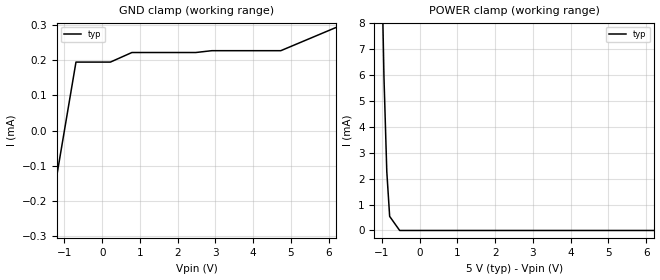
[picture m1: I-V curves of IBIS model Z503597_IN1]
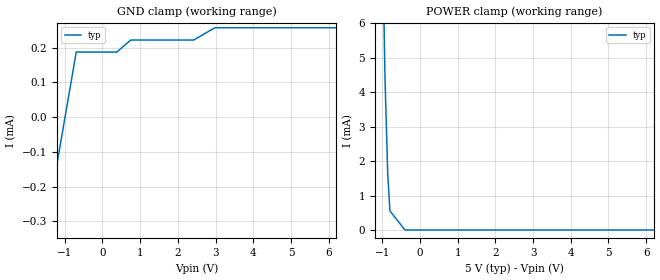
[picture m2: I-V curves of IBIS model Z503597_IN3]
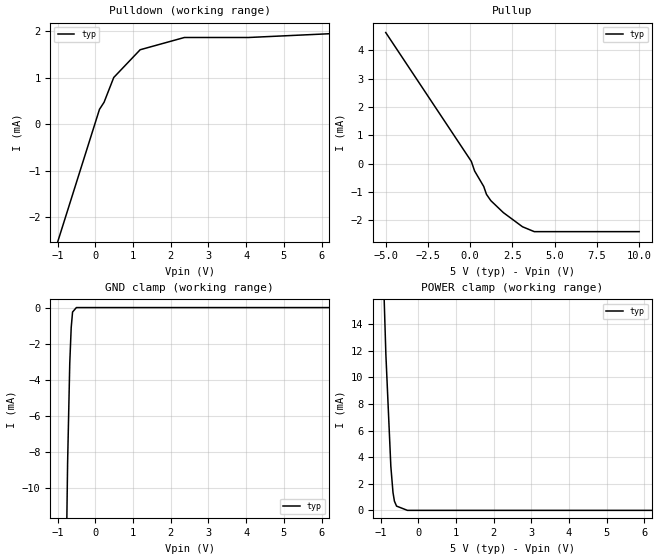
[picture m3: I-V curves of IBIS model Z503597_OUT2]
| YOU ARE ONLY AUTHORIZED TO USE THIS SOFTWARE
| ACCORDING TO LICENSOR'S LICENSE RESTRICTIONS.
[IBIS Ver] 3.1
[File Name] mc14501ubl.ibs
[File Rev] 2.0
[Source] Measured and created by ICX Technology
[Date] Friday 7/14/00 9:07:54 AM
[Copyright]
| (C) COPYRIGHT 1993-2000
| MENTOR GRAPHICS CORPORATION
| ICX STANDARD LIBRARY, ICX PROJECT MODELING,
| ICX CUSTOM MODELING, ICX VENDOR MODEL
| ALL RIGHTS RESERVED.
| THE FOLLOWING ARE TRADEMARKS OR SERVICE MARKS OF
| MENTOR GRAPHICS CORPORATION:ICX (R), ICX STANDARD
| LIBRARY(R), ICX PROJECT MODELING(R), ICX CUSTOM
| MODELING(R), qualityIBIS(TM), MODELVIEWER(TM),
| AND MODELEDITOR(TM)
| ALL COPIES OF SOFTWARE, INCLUDING BUT NOT LIMITED TO
| ANY MODIFICATIONS, ENHANCEMENTS OR DERIVATIVE WORKS,
| MUST CONTAIN ALL MENTOR GRAPHICS CORPORATION'S
| NOTICES AND LEGENDS, INCLUDING THOSE EMBEDDED IN
| SOFTWARE AND THOSE AFFIXED TO SOFTWARE MEDIUM
| AND CONTAINER, AS RECEIVED FROM MENTOR GRAPHICS
| CORPORATION.
|  ZAP Model Builder 2.7
[Component] MC14501UBL
[Manufacturer] OnSemiconductor
[Package]
| variable   typ   min   max
R_pkg  .212ohms NA NA
L_pkg  4.758nH NA NA
C_pkg  1.944pF NA NA
[Pin] signal_name  model_name  R_pin  L_pin C_pin
1 1A Z503597_IN1 .224 7.258n 2.683p
2 2A Z503597_IN1 .216 5.258n 2.19p
3 3A Z503597_IN1 .208 3.758n 1.697p
4 4A Z503597_IN1 .2 2.758n 1.204p
5 1C Z503597_IN1 .2 2.758n 1.204p
6 2C Z503597_IN1 .208 3.758n 1.697p
7 3C Z503597_IN1 .216 5.258n 2.19p
8 VSS POWER .224 7.258n 2.683p
9 4C Z503597_IN1 .224 7.258n 2.683p
10 OUT_C Z503597_OUT2 .216 5.258n 2.19p
11 1B Z503597_IN3 .208 3.758n 1.697p
12 2B Z503597_IN3 .2 2.758n 1.204p
13 OUT_A Z503597_OUT2 .2 2.758n 1.204p
14 OUT_B1 Z503597_OUT4 .208 3.758n 1.697p
15 OUT_B2 Z503597_OUT5 .216 5.258n 2.19p
16 VDD POWER .224 7.258n 2.683p
| Models and submodels in the file (5): Z503597_IN1 (Input), Z503597_IN3 (Input), Z503597_OUT2 (Output), Z503597_OUT4 (Output), Z503597_OUT5 (Output)
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| (C) COPYRIGHT 1993-2000
| MENTOR GRAPHICS CORPORATION
| ICX STANDARD LIBRARY, ICX PROJECT MODELING,
| ICX CUSTOM MODELING, ICX VENDOR MODEL
| ALL RIGHTS RESERVED.
| THE FOLLOWING ARE TRADEMARKS OR SERVICE MARKS OF
| MENTOR GRAPHICS CORPORATION:ICX (R), ICX STANDARD
| LIBRARY(R), ICX PROJECT MODELING(R), ICX CUSTOM
| MODELING(R), qualityIBIS(TM), MODELVIEWER(TM),
| AND MODELEDITOR(TM)
| ALL COPIES OF SOFTWARE, INCLUDING BUT NOT LIMITED TO
| ANY MODIFICATIONS, ENHANCEMENTS OR DERIVATIVE WORKS,
| MUST CONTAIN ALL MENTOR GRAPHICS CORPORATION'S
| NOTICES AND LEGENDS, INCLUDING THOSE EMBEDDED IN
| SOFTWARE AND THOSE AFFIXED TO SOFTWARE MEDIUM
| AND CONTAINER, AS RECEIVED FROM MENTOR GRAPHICS
| CORPORATION.
| Model Application Version 1.89 2/18/99.
[Model] Z503597_IN1
Model_type Input
Vinl = 1.500V
Vinh = 3.500V
C_comp 4.000pF NA NA
| variable typ   min   max
[Voltage Range] 5.000V NA NA
[GND Clamp Reference] 0.000V NA NA
[POWER Clamp Reference] 5.000V NA NA
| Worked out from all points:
|   POWER clamp passes 1 mA (typ) near -0.82 V on its own axis
[GND Clamp]
-5V       -2.542mA   NA         NA
-695mV    194.5uA    NA         NA
217.3mV   194.5uA    NA         NA
786.2mV   221.7uA    NA         NA
2.479V    221.7uA    NA         NA
2.902V    226.9uA    NA         NA
4.731V    226.9uA    NA         NA
10V       464.5uA    NA         NA
[POWER Clamp]
-5V       711mA      NA         NA
-1.25V    41.82mA    NA         NA
-1.094V   19.67mA    NA         NA
-1.006V   10.33mA    NA         NA
-947mV    5.939mA    NA         NA
-872mV    2.283mA    NA         NA
-796mV    544uA      NA         NA
-530.7mV  0A         NA         NA
10V       0A         NA         NA
| (C) COPYRIGHT 1993-2000
| MENTOR GRAPHICS CORPORATION
| ICX STANDARD LIBRARY, ICX PROJECT MODELING,
| ICX CUSTOM MODELING, ICX VENDOR MODEL
| ALL RIGHTS RESERVED.
| THE FOLLOWING ARE TRADEMARKS OR SERVICE MARKS OF
| MENTOR GRAPHICS CORPORATION:ICX (R), ICX STANDARD
| LIBRARY(R), ICX PROJECT MODELING(R), ICX CUSTOM
| MODELING(R), qualityIBIS(TM), MODELVIEWER(TM),
| AND MODELEDITOR(TM)
| ALL COPIES OF SOFTWARE, INCLUDING BUT NOT LIMITED TO
| ANY MODIFICATIONS, ENHANCEMENTS OR DERIVATIVE WORKS,
| MUST CONTAIN ALL MENTOR GRAPHICS CORPORATION'S
| NOTICES AND LEGENDS, INCLUDING THOSE EMBEDDED IN
| SOFTWARE AND THOSE AFFIXED TO SOFTWARE MEDIUM
| AND CONTAINER, AS RECEIVED FROM MENTOR GRAPHICS
| CORPORATION.
| Model Application Version 1.89 2/18/99.
[Model] Z503597_IN3
Model_type Input
Vinl = 1.500V
Vinh = 3.500V
C_comp 4.000pF NA NA
| variable typ   min   max
[Voltage Range] 5.000V NA NA
[GND Clamp Reference] 0.000V NA NA
[POWER Clamp Reference] 5.000V NA NA
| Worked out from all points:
|   POWER clamp passes 1 mA (typ) near -0.82 V on its own axis
[GND Clamp]
-5V       -2.529mA   NA         NA
-695mV    187.5uA    NA         NA
381.7mV   187.5uA    NA         NA
748.4mV   222.2uA    NA         NA
2.421V    222.2uA    NA         NA
2.979V    257.5uA    NA         NA
10V       257.5uA    NA         NA
[POWER Clamp]
-5V       565.5mA    NA         NA
-1.186V   28.36mA    NA         NA
-1.06V    14.42mA    NA         NA
-1.006V   9.583mA    NA         NA
-928mV    4.442mA    NA         NA
-854mV    1.615mA    NA         NA
-796mV    553uA      NA         NA
-398mV    0A         NA         NA
10V       0A         NA         NA
| (C) COPYRIGHT 1993-2000
| MENTOR GRAPHICS CORPORATION
| ICX STANDARD LIBRARY, ICX PROJECT MODELING,
| ICX CUSTOM MODELING, ICX VENDOR MODEL
| ALL RIGHTS RESERVED.
| THE FOLLOWING ARE TRADEMARKS OR SERVICE MARKS OF
| MENTOR GRAPHICS CORPORATION:ICX (R), ICX STANDARD
| LIBRARY(R), ICX PROJECT MODELING(R), ICX CUSTOM
| MODELING(R), qualityIBIS(TM), MODELVIEWER(TM),
| AND MODELEDITOR(TM)
| ALL COPIES OF SOFTWARE, INCLUDING BUT NOT LIMITED TO
| ANY MODIFICATIONS, ENHANCEMENTS OR DERIVATIVE WORKS,
| MUST CONTAIN ALL MENTOR GRAPHICS CORPORATION'S
| NOTICES AND LEGENDS, INCLUDING THOSE EMBEDDED IN
| SOFTWARE AND THOSE AFFIXED TO SOFTWARE MEDIUM
| AND CONTAINER, AS RECEIVED FROM MENTOR GRAPHICS
| CORPORATION.
| Model Application Version 1.89 2/18/99.
[Model] Z503597_OUT2
Model_type Output
Vref=0.000V
Rref=500.0Mohms
Cref=50.00pF
Vmeas=2.500V
C_comp 8.000pF NA NA
| variable typ   min   max
[Voltage Range] 5.000V NA NA
[POWER Clamp Reference] 5.000V NA NA
[Pullup Reference] 5.000V NA NA
[Pulldown Reference] 0.000V NA NA
[GND Clamp Reference] 0.000V NA NA
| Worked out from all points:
|   slope of the pulldown table from 0 to 0.75 V, typ, clamps not added: 635 ohm
|   slope of the pullup table from 0 to 0.75 V, typ, clamps not added: 840 ohm
|   GND clamp passes 1 mA (typ) near -0.64 V on its own axis
|   POWER clamp passes 1 mA (typ) near -0.65 V on its own axis
[GND Clamp]
-5V       -429.1mA   NA         NA
-1.133V   -66.56mA   NA         NA
-1.06V    -58.1mA    NA         NA
-740.4mV  -8.65mA    NA         NA
-682.8mV  -3.088mA   NA         NA
-644.6mV  -1.111mA   NA         NA
-608.3mV  -247uA     NA         NA
-506.9mV  0A         NA         NA
10V       0A         NA         NA
[Pulldown]
-5V       -12.77mA   NA         NA
106.2mV   320.8uA    NA         NA
227.8mV   471.8uA    NA         NA
485.1mV   1.004mA    NA         NA
1.186V    1.599mA    NA         NA
2.36V     1.862mA    NA         NA
4.066V    1.862mA    NA         NA
10V       2.085mA    NA         NA
[Pullup]
-5V       4.622mA    NA         NA
67mV      75.96uA    NA         NA
262mV     -263.9uA   NA         NA
801mV     -808.7uA   NA         NA
962mV     -1.086mA   NA         NA
1.22V     -1.308mA   NA         NA
1.959V    -1.729mA   NA         NA
3.095V    -2.23mA    NA         NA
3.793V    -2.402mA   NA         NA
10V       -2.402mA   NA         NA
[POWER Clamp]
-5V       438.3mA    NA         NA
-1.095V   33.33mA    NA         NA
-860mV    11.73mA    NA         NA
-728mV    3.305mA    NA         NA
-671mV    1.347mA    NA         NA
-633mV    691uA      NA         NA
-576mV    319uA      NA         NA
-288mV    0A         NA         NA
10V       0A         NA         NA
[Ramp]
| variable typ min max
dV/dt_r 727.0m/32.81n NA NA
dV/dt_f 727.0m/49.47n NA NA
R_load = 500.0Ohms
